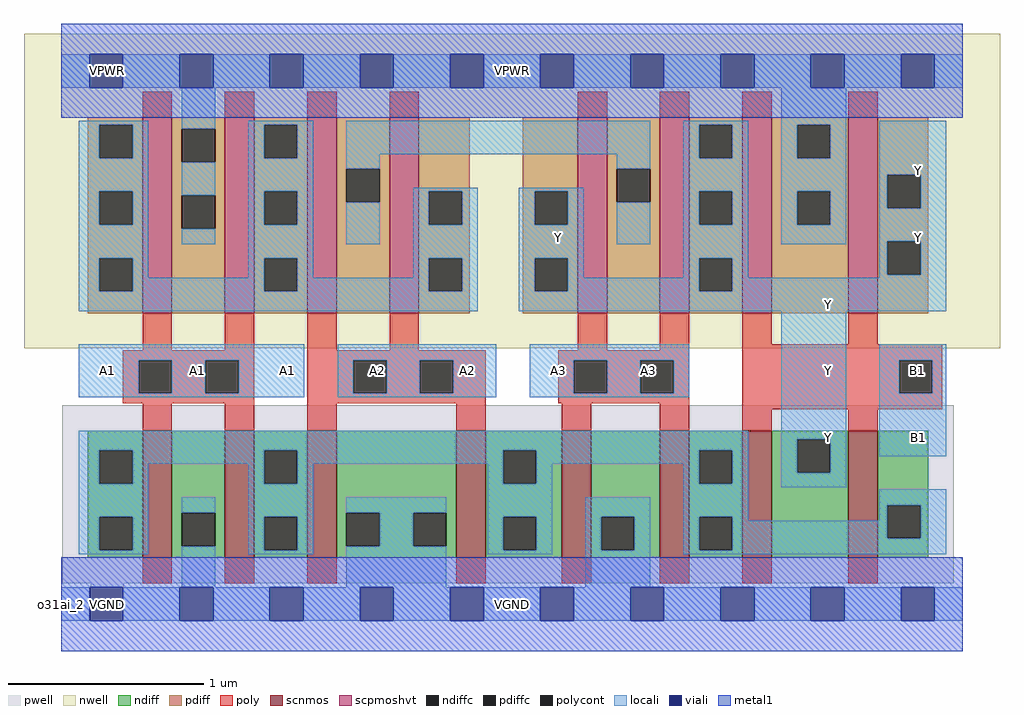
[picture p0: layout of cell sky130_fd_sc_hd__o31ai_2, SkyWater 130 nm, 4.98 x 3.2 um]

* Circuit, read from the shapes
.subckt sky130_fd_sc_hd__o31ai_2 A1 A2 A3 B1 VGND VNB VPB VPWR Y
XM1 VGND A1 n1 VNB sky130_fd_pr__nfet_01v8 w=0.65 l=0.15 m=2
XM2 VGND A2 n1 VNB sky130_fd_pr__nfet_01v8 w=0.65 l=0.15 m=2
XM3 VGND A3 n1 VNB sky130_fd_pr__nfet_01v8 w=0.65 l=0.15 m=2
XM4 Y B1 n1 VNB sky130_fd_pr__nfet_01v8 w=0.65 l=0.15 m=2
XM5 VPWR A1 n2 VPB sky130_fd_pr__pfet_01v8_hvt w=1 l=0.15 m=2
XM6 n3 A2 n2 VPB sky130_fd_pr__pfet_01v8_hvt w=1 l=0.15 m=2
XM7 n3 A3 Y VPB sky130_fd_pr__pfet_01v8_hvt w=1 l=0.15 m=2
XM8 VPWR B1 Y VPB sky130_fd_pr__pfet_01v8_hvt w=1 l=0.15 m=2
.ends

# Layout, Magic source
magic
tech sky130B
magscale 1 2
<< nwell >>
rect -38 261 958 582
<< pwell >>
rect 1 21 911 203
rect 30 -17 64 21
<< scnmos >>
rect 83 47 113 177
rect 167 47 197 177
rect 251 47 281 177
rect 403 47 433 177
rect 511 47 541 177
rect 611 47 641 177
rect 695 47 725 177
rect 803 47 833 177
<< scpmoshvt >>
rect 83 297 113 497
rect 167 297 197 497
rect 251 297 281 497
rect 335 297 365 497
rect 527 297 557 497
rect 611 297 641 497
rect 695 297 725 497
rect 803 297 833 497
<< ndiff >>
rect 27 157 83 177
rect 27 123 39 157
rect 73 123 83 157
rect 27 89 83 123
rect 27 55 39 89
rect 73 55 83 89
rect 27 47 83 55
rect 113 93 167 177
rect 113 59 123 93
rect 157 59 167 93
rect 113 47 167 59
rect 197 157 251 177
rect 197 123 207 157
rect 241 123 251 157
rect 197 89 251 123
rect 197 55 207 89
rect 241 55 251 89
rect 197 47 251 55
rect 281 93 403 177
rect 281 59 291 93
rect 325 59 359 93
rect 393 59 403 93
rect 281 47 403 59
rect 433 157 511 177
rect 433 123 451 157
rect 485 123 511 157
rect 433 89 511 123
rect 433 55 451 89
rect 485 55 511 89
rect 433 47 511 55
rect 541 89 611 177
rect 541 55 551 89
rect 585 55 611 89
rect 541 47 611 55
rect 641 157 695 177
rect 641 123 651 157
rect 685 123 695 157
rect 641 89 695 123
rect 641 55 651 89
rect 685 55 695 89
rect 641 47 695 55
rect 725 168 803 177
rect 725 134 751 168
rect 785 134 803 168
rect 725 47 803 134
rect 833 101 885 177
rect 833 67 843 101
rect 877 67 885 101
rect 833 47 885 67
<< pdiff >>
rect 27 489 83 497
rect 27 455 39 489
rect 73 455 83 489
rect 27 421 83 455
rect 27 387 39 421
rect 73 387 83 421
rect 27 353 83 387
rect 27 319 39 353
rect 73 319 83 353
rect 27 297 83 319
rect 113 485 167 497
rect 113 451 123 485
rect 157 451 167 485
rect 113 417 167 451
rect 113 383 123 417
rect 157 383 167 417
rect 113 297 167 383
rect 197 489 251 497
rect 197 455 207 489
rect 241 455 251 489
rect 197 421 251 455
rect 197 387 207 421
rect 241 387 251 421
rect 197 353 251 387
rect 197 319 207 353
rect 241 319 251 353
rect 197 297 251 319
rect 281 444 335 497
rect 281 410 291 444
rect 325 410 335 444
rect 281 297 335 410
rect 365 421 417 497
rect 365 387 375 421
rect 409 387 417 421
rect 365 353 417 387
rect 365 319 375 353
rect 409 319 417 353
rect 365 297 417 319
rect 471 421 527 497
rect 471 387 483 421
rect 517 387 527 421
rect 471 353 527 387
rect 471 319 483 353
rect 517 319 527 353
rect 471 297 527 319
rect 557 444 611 497
rect 557 410 567 444
rect 601 410 611 444
rect 557 297 611 410
rect 641 489 695 497
rect 641 455 651 489
rect 685 455 695 489
rect 641 421 695 455
rect 641 387 651 421
rect 685 387 695 421
rect 641 353 695 387
rect 641 319 651 353
rect 685 319 695 353
rect 641 297 695 319
rect 725 489 803 497
rect 725 455 751 489
rect 785 455 803 489
rect 725 421 803 455
rect 725 387 751 421
rect 785 387 803 421
rect 725 297 803 387
rect 833 438 885 497
rect 833 404 843 438
rect 877 404 885 438
rect 833 370 885 404
rect 833 336 843 370
rect 877 336 885 370
rect 833 297 885 336
<< ndiffc >>
rect 39 123 73 157
rect 39 55 73 89
rect 123 59 157 93
rect 207 123 241 157
rect 207 55 241 89
rect 291 59 325 93
rect 359 59 393 93
rect 451 123 485 157
rect 451 55 485 89
rect 551 55 585 89
rect 651 123 685 157
rect 651 55 685 89
rect 751 134 785 168
rect 843 67 877 101
<< pdiffc >>
rect 39 455 73 489
rect 39 387 73 421
rect 39 319 73 353
rect 123 451 157 485
rect 123 383 157 417
rect 207 455 241 489
rect 207 387 241 421
rect 207 319 241 353
rect 291 410 325 444
rect 375 387 409 421
rect 375 319 409 353
rect 483 387 517 421
rect 483 319 517 353
rect 567 410 601 444
rect 651 455 685 489
rect 651 387 685 421
rect 651 319 685 353
rect 751 455 785 489
rect 751 387 785 421
rect 843 404 877 438
rect 843 336 877 370
<< poly >>
rect 83 497 113 523
rect 167 497 197 523
rect 251 497 281 523
rect 335 497 365 523
rect 527 497 557 523
rect 611 497 641 523
rect 695 497 725 523
rect 803 497 833 523
rect 83 259 113 297
rect 167 259 197 297
rect 63 249 197 259
rect 63 215 79 249
rect 113 215 147 249
rect 181 215 197 249
rect 63 205 197 215
rect 83 177 113 205
rect 167 177 197 205
rect 251 259 281 297
rect 335 259 365 297
rect 527 259 557 297
rect 611 259 641 297
rect 251 249 433 259
rect 251 215 298 249
rect 332 215 366 249
rect 400 215 433 249
rect 251 205 433 215
rect 507 249 641 259
rect 507 215 523 249
rect 557 215 591 249
rect 625 215 641 249
rect 507 205 641 215
rect 251 177 281 205
rect 403 177 433 205
rect 511 177 541 205
rect 611 177 641 205
rect 695 265 725 297
rect 803 265 833 297
rect 695 249 899 265
rect 695 215 855 249
rect 889 215 899 249
rect 695 199 899 215
rect 695 177 725 199
rect 803 177 833 199
rect 83 21 113 47
rect 167 21 197 47
rect 251 21 281 47
rect 403 21 433 47
rect 511 21 541 47
rect 611 21 641 47
rect 695 21 725 47
rect 803 21 833 47
<< polycont >>
rect 79 215 113 249
rect 147 215 181 249
rect 298 215 332 249
rect 366 215 400 249
rect 523 215 557 249
rect 591 215 625 249
rect 855 215 889 249
<< locali >>
rect 0 527 29 561
rect 63 527 121 561
rect 155 527 213 561
rect 247 527 305 561
rect 339 527 397 561
rect 431 527 489 561
rect 523 527 581 561
rect 615 527 673 561
rect 707 527 765 561
rect 799 527 857 561
rect 891 527 920 561
rect 18 489 89 493
rect 18 455 39 489
rect 73 455 89 489
rect 18 421 89 455
rect 18 387 39 421
rect 73 387 89 421
rect 18 353 89 387
rect 123 485 157 527
rect 123 417 157 451
rect 123 367 157 383
rect 191 489 257 493
rect 191 455 207 489
rect 241 455 257 489
rect 191 421 257 455
rect 191 387 207 421
rect 241 387 257 421
rect 18 319 39 353
rect 73 333 89 353
rect 191 353 257 387
rect 291 459 601 493
rect 291 444 325 459
rect 567 444 601 459
rect 291 367 325 410
rect 359 421 425 425
rect 359 387 375 421
rect 409 387 425 421
rect 191 333 207 353
rect 73 319 207 333
rect 241 333 257 353
rect 359 353 425 387
rect 359 333 375 353
rect 241 319 375 333
rect 409 319 425 353
rect 18 299 425 319
rect 467 421 533 425
rect 467 387 483 421
rect 517 387 533 421
rect 467 353 533 387
rect 567 367 601 410
rect 635 489 701 493
rect 635 455 651 489
rect 685 455 701 489
rect 635 421 701 455
rect 635 387 651 421
rect 685 387 701 421
rect 467 319 483 353
rect 517 333 533 353
rect 635 353 701 387
rect 735 489 801 527
rect 735 455 751 489
rect 785 455 801 489
rect 735 421 801 455
rect 735 387 751 421
rect 785 387 801 421
rect 735 367 801 387
rect 835 438 903 493
rect 835 404 843 438
rect 877 404 903 438
rect 835 370 903 404
rect 635 333 651 353
rect 517 319 651 333
rect 685 333 701 353
rect 835 336 843 370
rect 877 336 903 370
rect 835 333 903 336
rect 685 319 903 333
rect 467 299 903 319
rect 18 249 248 265
rect 18 215 79 249
rect 113 215 147 249
rect 181 215 248 249
rect 18 211 248 215
rect 282 249 444 265
rect 282 215 298 249
rect 332 215 366 249
rect 400 215 444 249
rect 282 211 444 215
rect 478 249 641 265
rect 478 215 523 249
rect 557 215 591 249
rect 625 215 641 249
rect 478 211 641 215
rect 18 157 701 177
rect 18 123 39 157
rect 73 143 207 157
rect 73 123 89 143
rect 18 89 89 123
rect 191 123 207 143
rect 241 143 451 157
rect 241 123 257 143
rect 18 55 39 89
rect 73 55 89 89
rect 18 51 89 55
rect 123 93 157 109
rect 123 17 157 59
rect 191 89 257 123
rect 435 123 451 143
rect 485 143 651 157
rect 485 123 501 143
rect 191 55 207 89
rect 241 55 257 89
rect 191 51 257 55
rect 291 93 393 109
rect 325 59 359 93
rect 291 17 393 59
rect 435 89 501 123
rect 635 123 651 143
rect 685 123 701 157
rect 435 55 451 89
rect 485 55 501 89
rect 435 51 501 55
rect 535 89 601 109
rect 535 55 551 89
rect 585 55 601 89
rect 535 17 601 55
rect 635 89 701 123
rect 735 168 801 299
rect 735 134 751 168
rect 785 134 801 168
rect 835 249 903 265
rect 835 215 855 249
rect 889 215 903 249
rect 835 151 903 215
rect 735 119 801 134
rect 635 55 651 89
rect 685 85 701 89
rect 835 101 903 117
rect 835 85 843 101
rect 685 67 843 85
rect 877 67 903 101
rect 685 55 903 67
rect 635 51 903 55
rect 0 -17 29 17
rect 63 -17 121 17
rect 155 -17 213 17
rect 247 -17 305 17
rect 339 -17 397 17
rect 431 -17 489 17
rect 523 -17 581 17
rect 615 -17 673 17
rect 707 -17 765 17
rect 799 -17 857 17
rect 891 -17 920 17
<< viali >>
rect 29 527 63 561
rect 121 527 155 561
rect 213 527 247 561
rect 305 527 339 561
rect 397 527 431 561
rect 489 527 523 561
rect 581 527 615 561
rect 673 527 707 561
rect 765 527 799 561
rect 857 527 891 561
rect 29 -17 63 17
rect 121 -17 155 17
rect 213 -17 247 17
rect 305 -17 339 17
rect 397 -17 431 17
rect 489 -17 523 17
rect 581 -17 615 17
rect 673 -17 707 17
rect 765 -17 799 17
rect 857 -17 891 17
<< metal1 >>
rect 0 561 920 592
rect 0 527 29 561
rect 63 527 121 561
rect 155 527 213 561
rect 247 527 305 561
rect 339 527 397 561
rect 431 527 489 561
rect 523 527 581 561
rect 615 527 673 561
rect 707 527 765 561
rect 799 527 857 561
rect 891 527 920 561
rect 0 496 920 527
rect 0 17 920 48
rect 0 -17 29 17
rect 63 -17 121 17
rect 155 -17 213 17
rect 247 -17 305 17
rect 339 -17 397 17
rect 431 -17 489 17
rect 523 -17 581 17
rect 615 -17 673 17
rect 707 -17 765 17
rect 799 -17 857 17
rect 891 -17 920 17
rect 0 -48 920 -17
<< labels >>
flabel locali s 122 221 156 255 0 FreeSans 200 0 0 0 A1
port 1 nsew signal input
flabel locali s 30 221 64 255 0 FreeSans 200 0 0 0 A1
port 1 nsew signal input
flabel locali s 858 425 892 459 0 FreeSans 200 0 0 0 Y
port 9 nsew signal output
flabel locali s 766 289 800 323 0 FreeSans 200 0 0 0 Y
port 9 nsew signal output
flabel locali s 766 221 800 255 0 FreeSans 200 0 0 0 Y
port 9 nsew signal output
flabel locali s 490 357 524 391 0 FreeSans 200 0 0 0 Y
port 9 nsew signal output
flabel locali s 858 357 892 391 0 FreeSans 200 0 0 0 Y
port 9 nsew signal output
flabel locali s 766 153 800 187 0 FreeSans 200 0 0 0 Y
port 9 nsew signal output
flabel locali s 858 153 892 187 0 FreeSans 200 0 0 0 B1
port 4 nsew signal input
flabel locali s 857 221 891 255 0 FreeSans 200 0 0 0 B1
port 4 nsew signal input
flabel locali s 582 221 616 255 0 FreeSans 200 0 0 0 A3
port 3 nsew signal input
flabel locali s 490 221 524 255 0 FreeSans 200 0 0 0 A3
port 3 nsew signal input
flabel locali s 398 221 432 255 0 FreeSans 200 0 0 0 A2
port 2 nsew signal input
flabel locali s 306 221 340 255 0 FreeSans 200 0 0 0 A2
port 2 nsew signal input
flabel locali s 214 221 248 255 0 FreeSans 200 0 0 0 A1
port 1 nsew signal input
flabel metal1 s 30 -17 64 17 0 FreeSans 200 0 0 0 VGND
port 5 nsew ground bidirectional abutment
flabel metal1 s 30 527 64 561 0 FreeSans 200 0 0 0 VPWR
port 8 nsew power bidirectional abutment
flabel nwell s 30 527 64 561 0 FreeSans 200 0 0 0 VPB
port 7 nsew power bidirectional
flabel pwell s 30 -17 64 17 0 FreeSans 200 0 0 0 VNB
port 6 nsew ground bidirectional
rlabel comment s 0 0 0 0 4 o31ai_2
rlabel metal1 s 0 -48 920 48 1 VGND
port 5 nsew ground bidirectional abutment
rlabel metal1 s 0 496 920 592 1 VPWR
port 8 nsew power bidirectional abutment
<< properties >>
string FIXED_BBOX 0 0 920 544
string GDS_END 1434340
string GDS_FILE $PDKPATH/libs.ref/sky130_fd_sc_hd/gds/sky130_fd_sc_hd.gds
string GDS_START 1425412
string LEFclass CORE
string LEFsite unithd
string LEFsymmetry X Y R90
string path 0.000 0.000 4.600 0.000 
<< end >>
